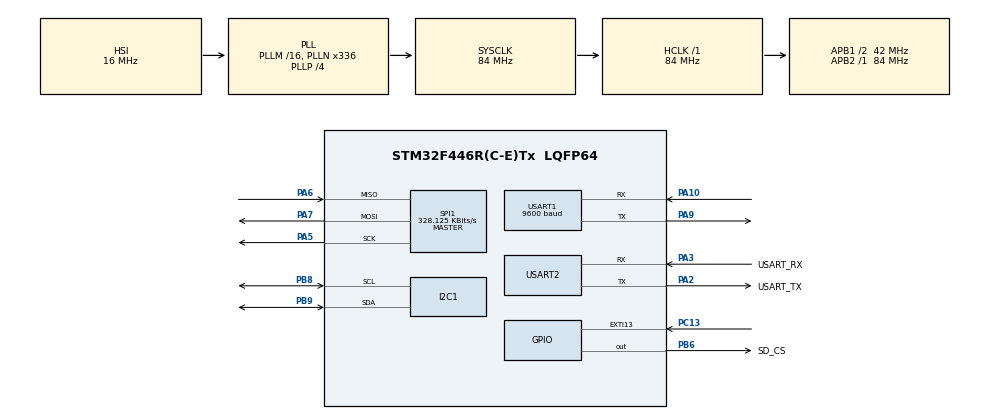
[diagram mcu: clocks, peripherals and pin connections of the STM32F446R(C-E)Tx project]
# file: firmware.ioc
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Mcu.Family=STM32F4
Mcu.Name=STM32F446R(C-E)Tx
Mcu.Package=LQFP64
NUCLEO-F446RE.BUTTON=1
NUCLEO-F446RE.LD1=true
NVIC.EXTI15_10_IRQn=true\:0\:0\:false\:false\:true\:false\:true\:true
NVIC.PriorityGroup=NVIC_PRIORITYGROUP_0
NVIC.TIM2_IRQn=true\:0\:0\:false\:false\:true\:true\:true\:true
NVIC.USART1_IRQn=true\:0\:0\:false\:false\:true\:true\:true\:true
PA10.Mode=Asynchronous
PA10.Signal=USART1_RX
PA13.GPIO_Label=TMS
PA13.Signal=SYS_JTMS-SWDIO
PA14.GPIO_Label=TCK
PA14.Signal=SYS_JTCK-SWCLK
PA2.GPIO_Label=USART_TX
PA2.Mode=Asynchronous
PA2.Signal=USART2_TX
PA3.GPIO_Label=USART_RX
PA3.Mode=Asynchronous
PA3.Signal=USART2_RX
PA5.Mode=Full_Duplex_Master
PA5.Signal=SPI1_SCK
PA6.Mode=Full_Duplex_Master
PA6.Signal=SPI1_MISO
PA7.Mode=Full_Duplex_Master
PA7.Signal=SPI1_MOSI
PA9.Mode=Asynchronous
PA9.Signal=USART1_TX
PB3.GPIO_Label=SWO
PB3.Signal=SYS_JTDO-SWO
PB6.GPIO_Label=SD_CS
PB6.PinState=GPIO_PIN_SET
PB6.Signal=GPIO_Output
PB8.Mode=I2C
PB8.Signal=I2C1_SCL
PB9.Mode=I2C
PB9.Signal=I2C1_SDA
PC13.Signal=GPXTI13
PC14-OSC32_IN.Signal=RCC_OSC32_IN
PC15-OSC32_OUT.Signal=RCC_OSC32_OUT
PH0-OSC_IN.Signal=RCC_OSC_IN
PH1-OSC_OUT.Signal=RCC_OSC_OUT
ProjectManager.HeapSize=0x200
ProjectManager.StackSize=0x400
ProjectManager.TargetToolchain=CMake
RCC.AHBFreq_Value=84000000
RCC.APB1CLKDivider=RCC_HCLK_DIV2
RCC.APB1Freq_Value=42000000
RCC.APB1TimFreq_Value=84000000
RCC.APB2Freq_Value=84000000
RCC.APB2TimFreq_Value=84000000
RCC.CortexFreq_Value=84000000
RCC.FLatency-AdvancedSettings=FLASH_LATENCY_2
RCC.HCLKFreq_Value=84000000
RCC.HSE_VALUE=8000000
RCC.HSI_VALUE=16000000
RCC.LSE_VALUE=32768
RCC.PLLN=336
RCC.PLLP=RCC_PLLP_DIV4
RCC.SYSCLKFreq_VALUE=84000000
RCC.SYSCLKSource=RCC_SYSCLKSOURCE_PLLCLK
RCC.USBFreq_Value=168000000
RCC.VCOOutputFreq_Value=336000000
SPI1.BaudRatePrescaler=SPI_BAUDRATEPRESCALER_256
SPI1.CalculateBaudRate=328.125 KBits/s
SPI1.Direction=SPI_DIRECTION_2LINES
SPI1.Mode=SPI_MODE_MASTER
SPI1.VirtualType=VM_MASTER
TIM2.Period=99
TIM2.Prescaler=8399
USART1.BaudRate=9600
USART1.VirtualMode=VM_ASYNC
USART2.VirtualMode=VM_ASYNC
VP_NUCLEO-F446RE_VS_BSP_COMMON.Mode=COMMON
VP_TIM2_VS_ClockSourceINT.Mode=Internal
board=NUCLEO-F446RE

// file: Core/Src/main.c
/* USER CODE BEGIN Header */
/**
  ******************************************************************************
  * @file           : main.c
  * @brief          : Main program body
  ******************************************************************************
  * @attention
  *
  * Copyright (c) 2026 STMicroelectronics.
  * All rights reserved.
  *
  * This software is licensed under terms that can be found in the LICENSE file
  * in the root directory of this software component.
  * If no LICENSE file comes with this software, it is provided AS-IS.
  *
  ******************************************************************************
  */
/* USER CODE END Header */
#include "main.h"

/* USER CODE BEGIN Includes */
#include <stdio.h>
#include <string.h>
#include <math.h>
#include "bmp581.h"
#include "icm20948.h"
#include "gps.h"
#include "gps_parse.h"
#include "sd.h"
/* USER CODE END Includes */

I2C_HandleTypeDef hi2c1;

SPI_HandleTypeDef hspi1;

TIM_HandleTypeDef htim2;

UART_HandleTypeDef huart1;
UART_HandleTypeDef huart2;

/* USER CODE BEGIN PV */
#define MAG_OFF_X  24.5f
#define MAG_OFF_Y  -15.0f
#define MAG_OFF_Z  59.0f
static volatile uint8_t  tick_flag     = 0;
static volatile uint32_t tick_count    = 0;
static volatile uint32_t overrun_count = 0;
static float roll_gyro  = 0.0f;
static float pitch_gyro = 0.0f;
static float roll_cf  = 0.0f;
static float pitch_cf = 0.0f;
static float gx_bias = 0.0f;
static float gy_bias = 0.0f;
static float alt_fused = 0.0f;
static float baro_offset = 0.0f;
static bool  alt_init = false;
static float gps_alt     = 0.0f;
static bool  have_gps_fix = false;
static float mx_min=9999, mx_max=-9999;
static float my_min=9999, my_max=-9999;
static float mz_min=9999, mz_max=-9999;
/* USER CODE END PV */

void SystemClock_Config(void);
static void MX_GPIO_Init(void);
static void MX_I2C1_Init(void);
static void MX_USART2_UART_Init(void);
static void MX_USART1_UART_Init(void);
static void MX_TIM2_Init(void);
static void MX_SPI1_Init(void);

/* USER CODE BEGIN 0 */
static void i2c_bus_recover(void)
{
  GPIO_InitTypeDef g = {0};

  /* Drive SCL (PB8) and SDA (PB9) as open-drain outputs. */
  __HAL_RCC_GPIOB_CLK_ENABLE();
  g.Pin   = GPIO_PIN_8 | GPIO_PIN_9;
  g.Mode  = GPIO_MODE_OUTPUT_OD;
  g.Pull  = GPIO_PULLUP;
  g.Speed = GPIO_SPEED_FREQ_HIGH;
  HAL_GPIO_Init(GPIOB, &g);

  HAL_GPIO_WritePin(GPIOB, GPIO_PIN_9, GPIO_PIN_SET);   /* release SDA */

  /* Nine clock pulses flush any slave stuck mid-byte. */
  for (int i = 0; i < 9; i++)
  {
    HAL_GPIO_WritePin(GPIOB, GPIO_PIN_8, GPIO_PIN_RESET);
    HAL_Delay(1);
    HAL_GPIO_WritePin(GPIOB, GPIO_PIN_8, GPIO_PIN_SET);
    HAL_Delay(1);
  }

  /* Manual STOP: SDA low->high while SCL is high. */
  HAL_GPIO_WritePin(GPIOB, GPIO_PIN_9, GPIO_PIN_RESET);
  HAL_Delay(1);
  HAL_GPIO_WritePin(GPIOB, GPIO_PIN_8, GPIO_PIN_SET);
  HAL_Delay(1);
  HAL_GPIO_WritePin(GPIOB, GPIO_PIN_9, GPIO_PIN_SET);
  HAL_Delay(1);
}
/* USER CODE END 0 */

int main(void)
{

  /* MCU Configuration--------------------------------------------------------*/

  /* Reset of all peripherals, Initializes the Flash interface and the Systick. */
  HAL_Init();

  /* Configure the system clock */
  SystemClock_Config();

  /* USER CODE BEGIN SysInit */
  i2c_bus_recover();
  /* USER CODE END SysInit */

  /* Initialize all configured peripherals */
  MX_GPIO_Init();
  MX_I2C1_Init();
  MX_USART2_UART_Init();
  MX_USART1_UART_Init();
  MX_TIM2_Init();
  MX_SPI1_Init();
  /* USER CODE BEGIN 2 */
  setvbuf(stdout, NULL, _IONBF, 0);
  printf("\r\nflight-computer boot\r\n");

  printf("I2C scan: knocking on 0x08-0x77...\r\n");
  uint8_t found = 0;
  for (uint8_t addr = 0x08; addr <= 0x77; addr++)
  {
    if (HAL_I2C_IsDeviceReady(&hi2c1, addr << 1, 2, 10) == HAL_OK)
    {
      printf("  answered: 0x%02X\r\n", addr);
      found++;
    }
  }
  printf("scan done, %u device(s)\r\n", found);

  printf("BMP581  : %s\r\n", bmp581_init(&hi2c1)   ? "ok" : "FAILED");
  printf("ICM20948: %s\r\n", icm20948_init(&hi2c1) ? "ok" : "FAILED");
  printf("AK09916 : %s\r\n", icm20948_mag_init() ? "ok" : "FAILED");
  printf("SD card : %s\r\n", sd_init(&hspi1) ? "ok" : "FAILED");
  gps_init(&huart1);
  printf("GPS     : UART interrupt armed\r\n");
  printf("Calibrating gyro, hold still...\r\n");
  {
    float sx = 0.0f, sy = 0.0f;
    int n = 0;
    for (int i = 0; i < 200; i++)
    {
      icm20948_data_t s;
      if (icm20948_read(&s)) { sx += s.gx; sy += s.gy; n++; }
      HAL_Delay(5);
    }
    if (n > 0) { gx_bias = sx / n; gy_bias = sy / n; }
    printf("Gyro bias: x %.3f  y %.3f dps (%d samples)\r\n",
           gx_bias, gy_bias, n);
  }
  HAL_TIM_Base_Start_IT(&htim2);
  printf("100 Hz timer started\r\n");
  /* USER CODE END 2 */

  /* Initialize USER push-button, will be used to trigger an interrupt each time it's pressed.*/
  BSP_PB_Init(BUTTON_USER, BUTTON_MODE_EXTI);

  /* Infinite loop */
  while (1)
  {

    /* USER CODE BEGIN 3 */
    if (!tick_flag) continue;
    tick_flag = 0;

    /* ---- 100 Hz ---- */
    icm20948_data_t imu;
    bool imu_ok = icm20948_read(&imu);
    float roll_acc = 0.0f, pitch_acc = 0.0f;
    if (imu_ok)
    {
      roll_acc  = atan2f(imu.ay, imu.az) * 57.2957795f;
      pitch_acc = atan2f(-imu.ax, sqrtf(imu.ay * imu.ay + imu.az * imu.az))
                  * 57.2957795f;

      float gx = imu.gx - gx_bias;
      float gy = imu.gy - gy_bias;

      roll_gyro  += gx * 0.01f;   /* dt = 10 ms */
      pitch_gyro += gy * 0.01f;

      roll_cf  = 0.98f * (roll_cf  + gx * 0.01f) + 0.02f * roll_acc;
      pitch_cf = 0.98f * (pitch_cf + gy * 0.01f) + 0.02f * pitch_acc;
    }

    /* ---- 10 Hz: baro + telemetry ---- */
    static uint8_t div10 = 0;
    if (++div10 >= 10)
    {
      div10 = 0;

      bmp581_data_t baro;
      bool baro_ok = bmp581_read(&baro);

      /* Parse GPS first so this cycle's fusion uses the freshest fix. */
      char nmea[128];
      if (gps_get_sentence(nmea, sizeof(nmea)))
      {
        gps_fix_t fix;
        if (gps_parse_gga(nmea, &fix))
        {
          if (fix.valid)
          {
            gps_alt      = fix.altitude_m;
            have_gps_fix = true;
            printf("$POS,%.6f,%.6f,%.1f,%d\r\n",
                   fix.latitude, fix.longitude, fix.altitude_m, fix.satellites);
          }
          else
          {
            have_gps_fix = false;
            printf("$POS,nofix\r\n");
          }
        }
      }

      /* Barometer supplies fast, precise motion. */
      if (baro_ok)
      {
        if (!alt_init && have_gps_fix)
        {
          baro_offset = gps_alt - baro.altitude_m;   /* one-time alignment */
          alt_init = true;
        }
        alt_fused = baro.altitude_m + baro_offset;

        /* GPS slowly corrects the offset: ~100 s time constant, so
         * weather drift is tracked but GPS noise is rejected. */
        if (alt_init && have_gps_fix)
          baro_offset += 0.001f * (gps_alt - alt_fused);
      }
      icm20948_mag_t mag;
      if (icm20948_mag_read(&mag))
      {
        float mxc = mag.mx - MAG_OFF_X;
        float myc = mag.my - MAG_OFF_Y;
        float mzc = mag.mz - MAG_OFF_Z;

        float r = roll_cf  * 0.01745329f;
        float p = pitch_cf * 0.01745329f;

        float xh = mxc * cosf(p) + mzc * sinf(p);
        float yh = mxc * sinf(r) * sinf(p) + myc * cosf(r) - mzc * sinf(r) * cosf(p);

        float heading = atan2f(-yh, xh) * 57.2957795f;
        heading += 11.5f;
        if (heading < 0)    heading += 360.0f;
        if (heading >= 360) heading -= 360.0f;

        printf("$HDG,%.1f\r\n", heading);
      }
      if (imu_ok)
        printf("$TLM,%.2f,%.2f,%.2f\r\n",
               roll_cf, pitch_cf,
               alt_init ? alt_fused : (baro_ok ? baro.altitude_m : 0.0f));

    }

    /* ---- 1 Hz: loop health ---- */
    static uint16_t div100 = 0;
    if (++div100 >= 100)
    {
      div100 = 0;
      printf("[loop] ticks=%lu overruns=%lu\r\n",
             (unsigned long)tick_count, (unsigned long)overrun_count);
    }
  }
  /* USER CODE END 3 */
}

void SystemClock_Config(void)
{
  RCC_OscInitTypeDef RCC_OscInitStruct = {0};
  RCC_ClkInitTypeDef RCC_ClkInitStruct = {0};

  /** Configure the main internal regulator output voltage
  */
  __HAL_RCC_PWR_CLK_ENABLE();
  __HAL_PWR_VOLTAGESCALING_CONFIG(PWR_REGULATOR_VOLTAGE_SCALE3);

  /** Initializes the RCC Oscillators according to the specified parameters
  * in the RCC_OscInitTypeDef structure.
  */
  RCC_OscInitStruct.OscillatorType = RCC_OSCILLATORTYPE_HSI;
  RCC_OscInitStruct.HSIState = RCC_HSI_ON;
  RCC_OscInitStruct.HSICalibrationValue = RCC_HSICALIBRATION_DEFAULT;
  RCC_OscInitStruct.PLL.PLLState = RCC_PLL_ON;
  RCC_OscInitStruct.PLL.PLLSource = RCC_PLLSOURCE_HSI;
  RCC_OscInitStruct.PLL.PLLM = 16;
  RCC_OscInitStruct.PLL.PLLN = 336;
  RCC_OscInitStruct.PLL.PLLP = RCC_PLLP_DIV4;
  RCC_OscInitStruct.PLL.PLLQ = 2;
  RCC_OscInitStruct.PLL.PLLR = 2;
  if (HAL_RCC_OscConfig(&RCC_OscInitStruct) != HAL_OK)
  {
    Error_Handler();
  }

  /** Initializes the CPU, AHB and APB buses clocks
  */
  RCC_ClkInitStruct.ClockType = RCC_CLOCKTYPE_HCLK|RCC_CLOCKTYPE_SYSCLK
                              |RCC_CLOCKTYPE_PCLK1|RCC_CLOCKTYPE_PCLK2;
  RCC_ClkInitStruct.SYSCLKSource = RCC_SYSCLKSOURCE_PLLCLK;
  RCC_ClkInitStruct.AHBCLKDivider = RCC_SYSCLK_DIV1;
  RCC_ClkInitStruct.APB1CLKDivider = RCC_HCLK_DIV2;
  RCC_ClkInitStruct.APB2CLKDivider = RCC_HCLK_DIV1;

  if (HAL_RCC_ClockConfig(&RCC_ClkInitStruct, FLASH_LATENCY_2) != HAL_OK)
  {
    Error_Handler();
  }
}

static void MX_I2C1_Init(void)
{

  hi2c1.Instance = I2C1;
  hi2c1.Init.ClockSpeed = 100000;
  hi2c1.Init.DutyCycle = I2C_DUTYCYCLE_2;
  hi2c1.Init.OwnAddress1 = 0;
  hi2c1.Init.AddressingMode = I2C_ADDRESSINGMODE_7BIT;
  hi2c1.Init.DualAddressMode = I2C_DUALADDRESS_DISABLE;
  hi2c1.Init.OwnAddress2 = 0;
  hi2c1.Init.GeneralCallMode = I2C_GENERALCALL_DISABLE;
  hi2c1.Init.NoStretchMode = I2C_NOSTRETCH_DISABLE;
  if (HAL_I2C_Init(&hi2c1) != HAL_OK)
  {
    Error_Handler();
  }

}

static void MX_SPI1_Init(void)
{

  /* SPI1 parameter configuration*/
  hspi1.Instance = SPI1;
  hspi1.Init.Mode = SPI_MODE_MASTER;
  hspi1.Init.Direction = SPI_DIRECTION_2LINES;
  hspi1.Init.DataSize = SPI_DATASIZE_8BIT;
  hspi1.Init.CLKPolarity = SPI_POLARITY_LOW;
  hspi1.Init.CLKPhase = SPI_PHASE_1EDGE;
  hspi1.Init.NSS = SPI_NSS_SOFT;
  hspi1.Init.BaudRatePrescaler = SPI_BAUDRATEPRESCALER_256;
  hspi1.Init.FirstBit = SPI_FIRSTBIT_MSB;
  hspi1.Init.TIMode = SPI_TIMODE_DISABLE;
  hspi1.Init.CRCCalculation = SPI_CRCCALCULATION_DISABLE;
  hspi1.Init.CRCPolynomial = 10;
  if (HAL_SPI_Init(&hspi1) != HAL_OK)
  {
    Error_Handler();
  }

}

static void MX_TIM2_Init(void)
{

  TIM_ClockConfigTypeDef sClockSourceConfig = {0};
  TIM_MasterConfigTypeDef sMasterConfig = {0};

  htim2.Instance = TIM2;
  htim2.Init.Prescaler = 8399;
  htim2.Init.CounterMode = TIM_COUNTERMODE_UP;
  htim2.Init.Period = 99;
  htim2.Init.ClockDivision = TIM_CLOCKDIVISION_DIV1;
  htim2.Init.AutoReloadPreload = TIM_AUTORELOAD_PRELOAD_DISABLE;
  if (HAL_TIM_Base_Init(&htim2) != HAL_OK)
  {
    Error_Handler();
  }
  sClockSourceConfig.ClockSource = TIM_CLOCKSOURCE_INTERNAL;
  if (HAL_TIM_ConfigClockSource(&htim2, &sClockSourceConfig) != HAL_OK)
  {
    Error_Handler();
  }
  sMasterConfig.MasterOutputTrigger = TIM_TRGO_RESET;
  sMasterConfig.MasterSlaveMode = TIM_MASTERSLAVEMODE_DISABLE;
  if (HAL_TIMEx_MasterConfigSynchronization(&htim2, &sMasterConfig) != HAL_OK)
  {
    Error_Handler();
  }

}

static void MX_USART1_UART_Init(void)
{

  huart1.Instance = USART1;
  huart1.Init.BaudRate = 9600;
  huart1.Init.WordLength = UART_WORDLENGTH_8B;
  huart1.Init.StopBits = UART_STOPBITS_1;
  huart1.Init.Parity = UART_PARITY_NONE;
  huart1.Init.Mode = UART_MODE_TX_RX;
  huart1.Init.HwFlowCtl = UART_HWCONTROL_NONE;
  huart1.Init.OverSampling = UART_OVERSAMPLING_16;
  if (HAL_UART_Init(&huart1) != HAL_OK)
  {
    Error_Handler();
  }

}

static void MX_USART2_UART_Init(void)
{

  huart2.Instance = USART2;
  huart2.Init.BaudRate = 115200;
  huart2.Init.WordLength = UART_WORDLENGTH_8B;
  huart2.Init.StopBits = UART_STOPBITS_1;
  huart2.Init.Parity = UART_PARITY_NONE;
  huart2.Init.Mode = UART_MODE_TX_RX;
  huart2.Init.HwFlowCtl = UART_HWCONTROL_NONE;
  huart2.Init.OverSampling = UART_OVERSAMPLING_16;
  if (HAL_UART_Init(&huart2) != HAL_OK)
  {
    Error_Handler();
  }

}

static void MX_GPIO_Init(void)
{
  GPIO_InitTypeDef GPIO_InitStruct = {0};

  /* GPIO Ports Clock Enable */
  __HAL_RCC_GPIOC_CLK_ENABLE();
  __HAL_RCC_GPIOH_CLK_ENABLE();
  __HAL_RCC_GPIOA_CLK_ENABLE();
  __HAL_RCC_GPIOB_CLK_ENABLE();

  /*Configure GPIO pin Output Level */
  HAL_GPIO_WritePin(SD_CS_GPIO_Port, SD_CS_Pin, GPIO_PIN_SET);

  /*Configure GPIO pin : SD_CS_Pin */
  GPIO_InitStruct.Pin = SD_CS_Pin;
  GPIO_InitStruct.Mode = GPIO_MODE_OUTPUT_PP;
  GPIO_InitStruct.Pull = GPIO_NOPULL;
  GPIO_InitStruct.Speed = GPIO_SPEED_FREQ_LOW;
  HAL_GPIO_Init(SD_CS_GPIO_Port, &GPIO_InitStruct);

}

/* USER CODE BEGIN 4 */
int _write(int file, char *ptr, int len)
{
  (void)file;
  HAL_UART_Transmit(&huart2, (uint8_t *)ptr, len, HAL_MAX_DELAY);
  return len;
}

void HAL_TIM_PeriodElapsedCallback(TIM_HandleTypeDef *htim)
{
  if (htim->Instance != TIM2) return;

  if (tick_flag) overrun_count++;   /* last tick never got serviced */
  tick_flag = 1;
  tick_count++;
}
/* USER CODE END 4 */

void Error_Handler(void)
{
  __disable_irq();
  while (1)
  {
  }
}
